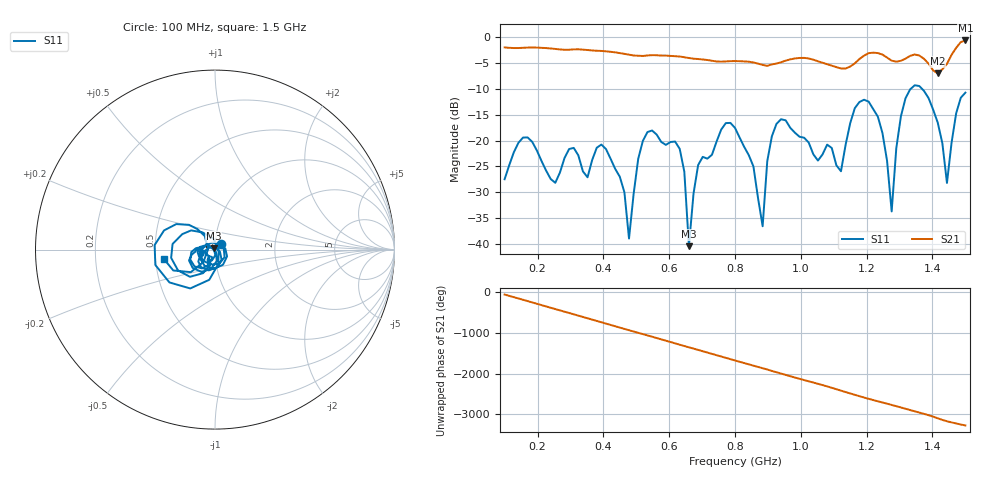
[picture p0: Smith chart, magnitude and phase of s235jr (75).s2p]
! NanoVNA-App
! Date: 2025-09-25 15:04:45
! Start: 100MHz Stop: 1,5GHz Points: 101
! S-Parameter data: F S11 S21 S12 S22
# Hz S RI R 50
!  Frequency  S11_Real  S11_Imag  S21_Real  S21_Imag  S12_Real  S12_Imag  S22_Real  S22_Imag
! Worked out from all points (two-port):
!   101 points, 100 MHz to 1.5 GHz, reference 50 ohm
!   highest |S21| = -0.61 dB at 1.5 GHz (marker M1); lowest = -7.0 dB at 1.416 GHz (marker M2)
!   |S21| within 3 dB of the highest: start of sweep to 519.7 MHz; 520.1 MHz to 606.6 MHz (86.52 MHz wide, 15.4 % of centre) (the widest 2 of 5)
!   lowest |S11| = -40.4 dB at 660 MHz (marker M3), VSWR 1.02, Z = 49.3 + j0.643 ohm
!   |S11| at or under -10 dB: start of sweep to 1.334 GHz; 1.368 GHz to end of sweep
!   S12 and S22 are empty: the file has one direction only
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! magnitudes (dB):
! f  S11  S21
! 100 MHz  -27.5  -2.0
! 156 MHz  -19.4  -2.0
! 338 MHz  -26.0  -2.4
! 408 MHz  -21.6  -2.7
! 478 MHz  -39.0  -3.4
! 520 MHz  -20.1  -3.6
! 576 MHz  -20.3  -3.5
! 632 MHz  -21.6  -3.7
! 660 MHz  -40.4  -4.0
! 688 MHz  -24.7  -4.2
! 800 MHz  -17.5  -4.6
! 884 MHz  -36.6  -5.3
! 926 MHz  -16.8  -5.1
! 1.038 GHz  -22.7  -4.3
! 1.122 GHz  -25.9  -6.0
! 1.206 GHz  -12.5  -3.1
! 1.248 GHz  -18.5  -3.4
! 1.276 GHz  -33.7  -4.5
! 1.332 GHz  -10.1  -3.6
! 1.416 GHz  -16.5  -7.0
! 1.444 GHz  -28.2  -5.2
! 1.5 GHz  -10.7  -0.6
